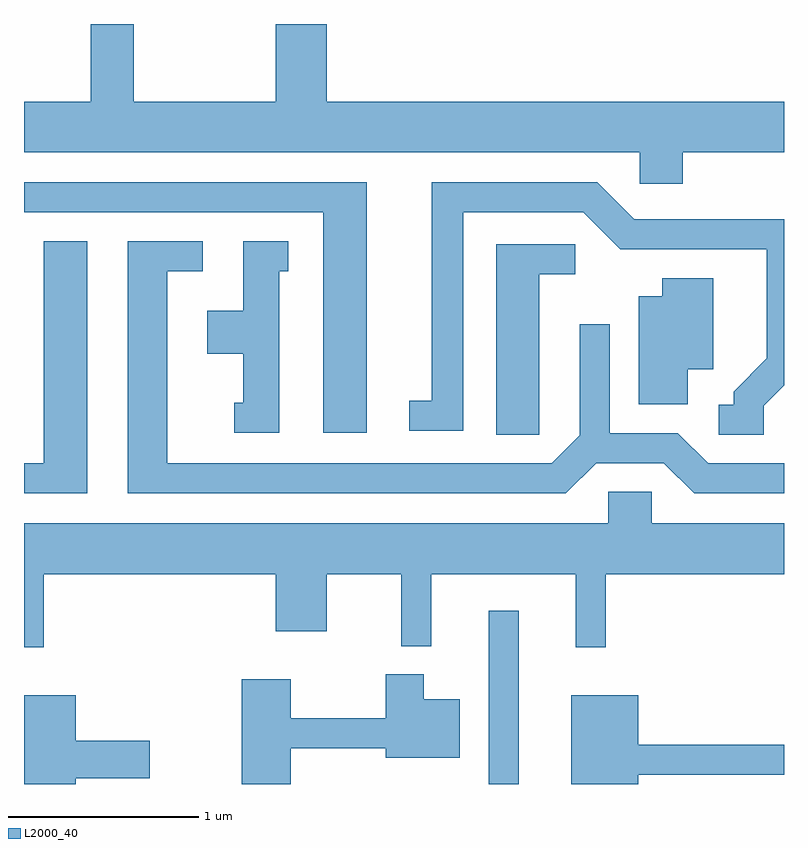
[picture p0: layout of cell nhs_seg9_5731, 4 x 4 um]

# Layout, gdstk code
import gdstk
lib = gdstk.Library(unit=1e-6, precision=1e-09)
def R(c, l, rs):  # rectangles x0, y0, x1, y1
    for r in rs: c.add(gdstk.rectangle(r[:2], r[2:], *l))
def P(c, l, *ps):  # polygons
    for p in ps: c.add(gdstk.Polygon(p, *l))
L2000_40 = (2000, 40)

nhs_seg9_5731 = lib.new_cell('nhs_seg9_5731')
R(nhs_seg9_5731, L2000_40, [(356.056,2048.432,356.214,2049.343)])
P(nhs_seg9_5731, L2000_40, [(357.079,2051.756),(357.611,2051.756),(357.611,2052.024),(355.204,2052.024),(355.204,2052.432),(354.936,2052.432),(354.936,2052.024),(354.189,2052.024),(354.189,2052.432),(353.961,2052.432),(353.961,2052.024),(353.611,2052.024),(353.611,2051.756),(356.851,2051.756),(356.851,2051.591),(357.079,2051.591)],
  [(357.504,2050.423),(357.611,2050.53),(357.611,2051.404),(356.822,2051.404),(356.627,2051.599),(355.756,2051.599),(355.756,2050.449),(355.638,2050.449),(355.638,2050.291),(355.924,2050.291),(355.924,2051.441),(356.554,2051.441),(356.749,2051.246),(357.521,2051.246),(357.521,2050.672),(357.346,2050.497),(357.346,2050.429),(357.268,2050.429),(357.268,2050.271),(357.504,2050.271)],
  [(355.414,2051.599),(353.611,2051.599),(353.611,2051.441),(355.186,2051.441),(355.186,2050.281),(355.414,2050.281)],
  [(356.622,2050.121),(356.979,2050.121),(357.139,2049.961),(357.611,2049.961),(357.611,2050.119),(357.212,2050.119),(357.052,2050.279),(356.694,2050.279),(356.694,2050.853),(356.536,2050.853),(356.536,2050.267),(356.389,2050.119),(354.364,2050.119),(354.364,2051.131),(354.553,2051.131),(354.553,2051.289),(354.156,2051.289),(354.156,2049.961),(356.462,2049.961)],
  [(354.954,2051.131),(355.003,2051.131),(355.003,2051.289),(354.766,2051.289),(354.766,2050.924),(354.576,2050.924),(354.576,2050.696),(354.766,2050.696),(354.766,2050.439),(354.718,2050.439),(354.718,2050.281),(354.954,2050.281)],
  [(353.944,2051.289),(353.716,2051.289),(353.716,2050.119),(353.611,2050.119),(353.611,2049.961),(353.944,2049.961)],
  [(356.324,2051.116),(356.513,2051.116),(356.513,2051.274),(356.096,2051.274),(356.096,2050.271),(356.324,2050.271)],
  [(357.104,2050.616),(357.239,2050.616),(357.239,2051.094),(356.971,2051.094),(356.971,2050.999),(356.846,2050.999),(356.846,2050.431),(357.104,2050.431)],
  [(353.714,2049.536),(354.936,2049.536),(354.936,2049.236),(355.204,2049.236),(355.204,2049.536),(355.596,2049.536),(355.596,2049.158),(355.754,2049.158),(355.754,2049.536),(356.516,2049.536),(356.516,2049.153),(356.674,2049.153),(356.674,2049.536),(357.611,2049.536),(357.611,2049.804),(356.914,2049.804),(356.914,2049.969),(356.686,2049.969),(356.686,2049.804),(353.611,2049.804),(353.611,2049.153),(353.714,2049.153)],
  [(355.014,2048.621),(355.516,2048.621),(355.516,2048.571),(355.904,2048.571),(355.904,2048.879),(355.714,2048.879),(355.714,2049.009),(355.516,2049.009),(355.516,2048.779),(355.014,2048.779),(355.014,2048.984),(354.756,2048.984),(354.756,2048.432),(355.014,2048.432)],
  [(353.884,2048.461),(354.274,2048.461),(354.274,2048.659),(353.884,2048.659),(353.884,2048.899),(353.611,2048.899),(353.611,2048.432),(353.884,2048.432)],
  [(356.844,2048.481),(357.611,2048.481),(357.611,2048.639),(356.844,2048.639),(356.844,2048.899),(356.491,2048.899),(356.491,2048.432),(356.844,2048.432)])

lib.write_gds('nhs_seg9_5731.gds')
